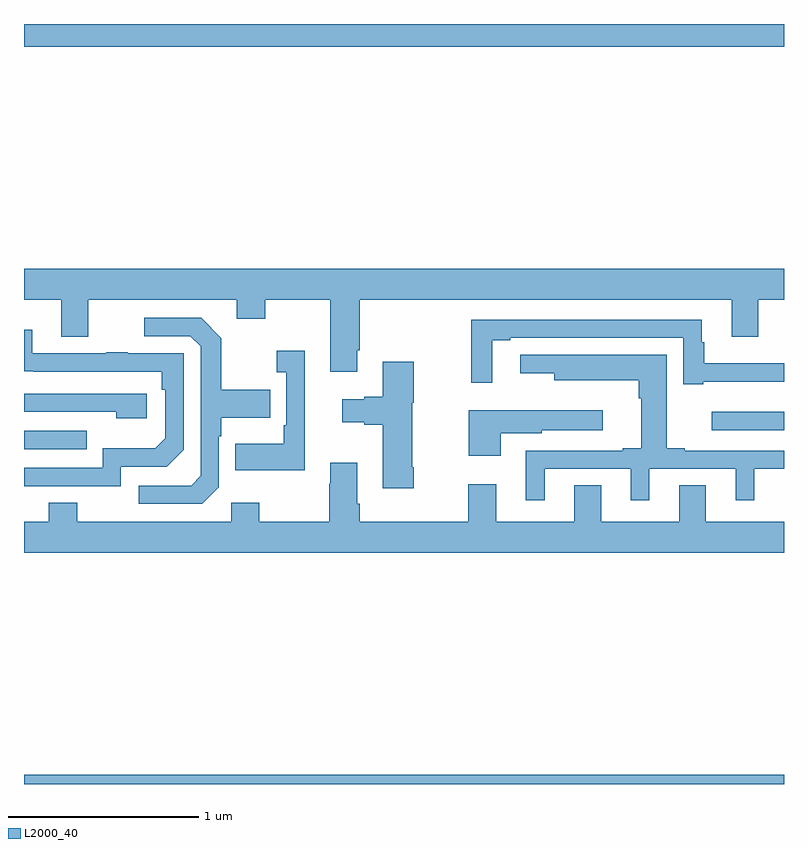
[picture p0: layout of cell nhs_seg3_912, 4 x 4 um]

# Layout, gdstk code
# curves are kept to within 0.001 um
import gdstk
lib = gdstk.Library(unit=1e-6, precision=1e-09)
def R(c, l, rs):  # rectangles x0, y0, x1, y1
    for r in rs: c.add(gdstk.rectangle(r[:2], r[2:], *l))
def P(c, l, *ps):  # polygons
    for p in ps: c.add(gdstk.Polygon(p, *l))
L2000_40 = (2000, 40)

nhs_seg3_912 = lib.new_cell('nhs_seg3_912')
R(nhs_seg3_912, L2000_40, [(159,666.4,163,666.448), (159,668.163,159.329,668.259), (162.621,668.262,163,668.359), (159,670.28,163,670.4)])
P(nhs_seg3_912, L2000_40, [(160.753,668.683),(160.766,668.683),(160.766,668.948),(162.725,668.948),(162.725,668.754),(162.865,668.754),(162.865,668.948),(163,668.948),(163,669.112),(159,669.112),(159,668.948),(159.197,668.948),(159.197,668.754),(159.337,668.754),(159.337,668.948),(160.121,668.948),(160.121,668.849),(160.269,668.849),(160.269,668.948),(160.613,668.948),(160.613,668.571),(160.753,668.571)],
  [(160.026,667.962),(160.026,668.231),(160.039,668.231),(160.039,668.327),(160.295,668.327),(160.295,668.475),(160.039,668.475),(160.039,668.747),(159.933,668.853),(159.633,668.853),(159.633,668.757),(159.876,668.757),(159.93,668.703),(159.93,668.022),(159.879,667.971),(159.603,667.971),(159.603,667.875),(159.939,667.875)],
  [(162.574,668.516),(163,668.516),(163,668.614),(162.58,668.614),(162.58,668.726),(162.568,668.726),(162.568,668.844),(161.355,668.844),(161.355,668.511),(161.464,668.511),(161.464,668.736),(161.56,668.736),(161.56,668.748),(162.471,668.748),(162.471,668.505),(162.574,668.505)],
  [(159.51,668.07),(159.75,668.07),(159.84,668.16),(159.84,668.667),(159.545,668.667),(159.545,668.672),(159.433,668.672),(159.433,668.667),(159.043,668.667),(159.043,668.791),(159,668.791),(159,668.572),(159.724,668.571),(159.724,668.474),(159.744,668.474),(159.744,668.22),(159.691,668.167),(159.414,668.167),(159.414,668.064),(159,668.064),(159,667.968),(159.51,667.968)],
  [(160.478,668.68),(160.329,668.68),(160.329,668.567),(160.38,668.567),(160.38,668.287),(160.368,668.287),(160.368,668.191),(160.111,668.191),(160.111,668.051),(160.478,668.051)],
  [(161.74,668.058),(162.194,668.058),(162.194,667.893),(162.292,667.893),(162.292,668.058),(162.746,668.058),(162.746,667.893),(162.844,667.893),(162.844,668.058),(163,668.058),(163,668.154),(162.478,668.154),(162.478,668.167),(162.382,668.167),(162.382,668.659),(161.896,668.659),(161.896,668.658),(161.613,668.658),(161.613,668.561),(161.792,668.561),(161.792,668.525),(162.236,668.525),(162.236,668.429),(162.248,668.429),(162.248,668.167),(162.152,668.167),(162.152,668.154),(161.642,668.154),(161.642,667.893),(161.74,667.893)],
  [(161.052,668.068),(161.044,668.068),(161.044,668.407),(161.052,668.407),(161.052,668.623),(160.889,668.623),(160.889,668.438),(160.79,668.438),(160.79,668.425),(160.674,668.425),(160.674,668.303),(160.79,668.303),(160.79,668.291),(160.889,668.291),(160.889,667.956),(161.052,667.956)],
  [(159.646,668.454),(159,668.454),(159,668.358),(159.485,668.358),(159.485,668.324),(159.646,668.324)],
  [(161.509,668.246),(161.724,668.246),(161.724,668.261),(162.046,668.261),(162.046,668.368),(161.342,668.368),(161.342,668.127),(161.509,668.127)],
  [(163,667.78),(162.589,667.78),(162.589,667.973),(162.449,667.973),(162.449,667.78),(162.037,667.78),(162.037,667.973),(161.897,667.973),(161.897,667.78),(161.485,667.78),(161.485,667.978),(161.338,667.978),(161.338,667.78),(160.766,667.78),(160.766,667.876),(160.753,667.876),(160.753,668.092),(160.613,668.092),(160.613,667.979),(160.606,667.979),(160.606,667.78),(160.239,667.78),(160.239,667.879),(160.092,667.879),(160.092,667.78),(159.279,667.78),(159.279,667.879),(159.131,667.879),(159.131,667.78),(159,667.78),(159,667.616),(163,667.616)])

lib.write_gds('nhs_seg3_912.gds')
